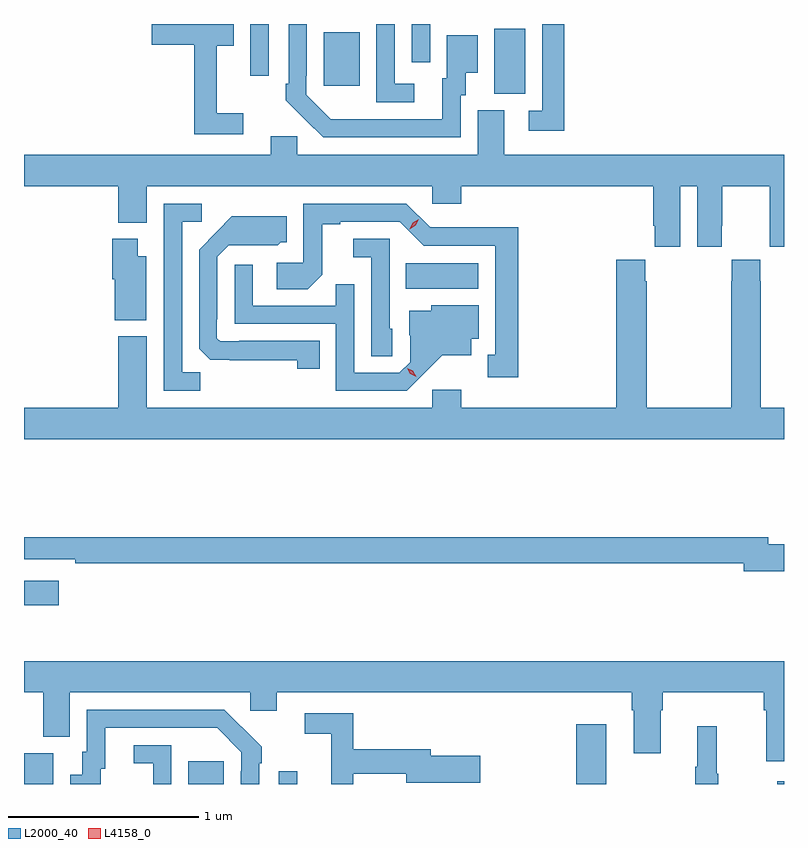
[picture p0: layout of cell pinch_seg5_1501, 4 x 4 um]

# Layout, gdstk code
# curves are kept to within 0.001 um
import gdstk
lib = gdstk.Library(unit=1e-6, precision=1e-09)
def R(c, l, rs):  # rectangles x0, y0, x1, y1
    for r in rs: c.add(gdstk.rectangle(r[:2], r[2:], *l))
def P(c, l, *ps):  # polygons
    for p in ps: c.add(gdstk.Polygon(p, *l))
L2000_40 = (2000, 40)
L4158_0 = (4158, 0)

pinch_seg5_1501 = lib.new_cell('pinch_seg5_1501')
R(pinch_seg5_1501, L2000_40, [(314.291,869.597,314.446,869.76), (315.155,869.597,315.343,869.716), (315.633,869.597,315.729,869.665), (317.198,869.597,317.356,869.911), (318.255,869.597,318.291,869.611), (314.291,870.538,314.473,870.667), (316.3,872.204,316.681,872.338), (316.766,873.229,316.93,873.572), (315.869,873.273,316.057,873.553), (315.483,873.324,315.579,873.597), (316.332,873.396,316.428,873.597)])
P(pinch_seg5_1501, L2000_40, [(315.445,873.127),(315.305,873.127),(315.305,873.482),(315.394,873.482),(315.394,873.597),(314.964,873.597),(314.964,873.488),(315.187,873.488),(315.187,873.018),(315.445,873.018)],
  [(316.345,873.282),(316.242,873.282),(316.242,873.597),(316.146,873.597),(316.146,873.186),(316.345,873.186)],
  [(317.135,873.597),(317.019,873.597),(317.019,873.141),(316.947,873.141),(316.947,873.036),(317.135,873.036)],
  [(316.59,873.222),(316.615,873.222),(316.615,873.341),(316.678,873.341),(316.678,873.538),(316.517,873.538),(316.517,873.312),(316.493,873.312),(316.493,873.096),(315.906,873.097),(315.777,873.225),(315.777,873.325),(315.78,873.325),(315.78,873.597),(315.684,873.597),(315.684,873.283),(315.669,873.283),(315.669,873.195),(315.866,873),(316.59,873)],
  [(314.291,872.744),(314.786,872.744),(314.786,872.552),(314.938,872.552),(314.938,872.744),(316.44,872.744),(316.44,872.651),(316.592,872.651),(316.592,872.744),(317.603,872.744),(317.603,872.536),(317.612,872.536),(317.612,872.424),(317.746,872.424),(317.746,872.744),(317.834,872.744),(317.834,872.424),(317.964,872.424),(317.964,872.536),(317.965,872.536),(317.965,872.744),(318.215,872.744),(318.215,872.536),(318.216,872.536),(318.216,872.424),(318.291,872.424),(318.291,872.908),(316.819,872.908),(316.819,873.144),(316.679,873.144),(316.679,872.908),(315.729,872.908),(315.729,873.006),(315.59,873.006),(315.59,872.908),(314.291,872.908)],
  [(316.891,872.528),(316.65,872.528),(316.65,872.526),(316.428,872.526),(316.302,872.652),(315.762,872.652),(315.762,872.34),(315.621,872.34),(315.621,872.2),(315.785,872.2),(315.861,872.276),(315.861,872.544),(315.955,872.544),(315.955,872.556),(316.269,872.556),(316.395,872.43),(316.772,872.43),(316.772,871.857),(316.733,871.857),(316.733,871.737),(316.891,871.737)],
  [(315.219,871.763),(315.123,871.763),(315.123,872.556),(315.226,872.556),(315.226,872.652),(315.027,872.652),(315.027,871.668),(315.219,871.668)],
  [(315.848,871.929),(315.424,871.929),(315.424,871.926),(315.324,871.926),(315.306,871.944),(315.306,872.044),(315.309,872.044),(315.309,872.373),(315.369,872.433),(315.626,872.432),(315.642,872.448),(315.673,872.448),(315.673,872.584),(315.385,872.584),(315.213,872.41),(315.213,871.888),(315.272,871.829),(315.73,871.828),(315.73,871.782),(315.848,871.782)],
  [(314.935,872.374),(314.89,872.374),(314.89,872.467),(314.756,872.467),(314.756,872.253),(314.768,872.253),(314.768,872.039),(314.935,872.039)],
  [(316.23,871.992),(316.215,871.992),(316.215,872.466),(316.023,872.466),(316.023,872.369),(316.119,872.369),(316.119,871.849),(316.23,871.849)],
  [(318.291,871.576),(318.168,871.576),(318.168,872.243),(318.165,872.243),(318.165,872.356),(318.015,872.356),(318.015,872.243),(318.013,872.243),(318.013,871.576),(317.568,871.576),(317.568,872.243),(317.561,872.243),(317.561,872.356),(317.408,872.356),(317.408,871.576),(316.592,871.576),(316.592,871.672),(316.44,871.672),(316.44,871.576),(314.938,871.576),(314.938,871.954),(314.786,871.954),(314.786,871.576),(314.291,871.576),(314.291,871.412),(318.291,871.412)],
  [(316.39,871.751),(316.493,871.853),(316.645,871.853),(316.645,871.94),(316.684,871.94),(316.684,872.116),(316.434,872.116),(316.434,872.089),(316.319,872.089),(316.319,871.96),(316.323,871.96),(316.323,871.818),(316.266,871.761),(316.029,871.761),(316.029,872.228),(315.931,872.228),(315.931,872.115),(315.495,872.115),(315.495,872.329),(315.399,872.329),(315.399,872.019),(315.933,872.019),(315.933,871.668),(316.306,871.668)],
  [(318.291,870.86),(318.208,870.86),(318.208,870.896),(314.291,870.896),(314.291,870.78),(314.56,870.78),(314.56,870.76),(318.08,870.76),(318.08,870.718),(318.291,870.718)],
  [(318.291,870.244),(314.291,870.244),(314.291,870.08),(314.393,870.08),(314.393,869.845),(314.533,869.845),(314.533,870.08),(315.483,870.08),(315.483,869.982),(315.622,869.982),(315.622,870.08),(317.489,870.08),(317.489,869.984),(317.501,869.984),(317.501,869.76),(317.641,869.76),(317.641,869.984),(317.654,869.984),(317.654,870.08),(318.185,870.08),(318.185,869.984),(318.197,869.984),(318.197,869.718),(318.291,869.718)],
  [(314.695,869.676),(314.719,869.676),(314.719,869.892),(315.307,869.892),(315.435,869.763),(315.435,869.663),(315.432,869.663),(315.432,869.597),(315.528,869.597),(315.528,869.705),(315.543,869.705),(315.543,869.793),(315.346,869.988),(314.622,869.988),(314.622,869.766),(314.597,869.766),(314.597,869.647),(314.534,869.647),(314.534,869.597),(314.695,869.597)],
  [(316.025,869.65),(316.304,869.65),(316.304,869.603),(316.693,869.603),(316.693,869.745),(316.432,869.745),(316.432,869.779),(316.025,869.779),(316.025,869.97),(315.768,869.97),(315.768,869.862),(315.908,869.862),(315.908,869.597),(316.025,869.597)],
  [(317.944,869.652),(317.936,869.652),(317.936,869.902),(317.834,869.902),(317.834,869.689),(317.823,869.689),(317.823,869.597),(317.944,869.597)],
  [(315.066,869.802),(314.868,869.802),(314.868,869.706),(314.97,869.706),(314.97,869.597),(315.066,869.597)])
P(pinch_seg5_1501, L4158_0, [(316.355,871.741),(316.325,871.756),(316.307,871.785),(316.307,871.786),(316.308,871.786),(316.338,871.771),(316.355,871.741),(316.355,871.741)],
  [(316.32,872.518),(316.32,872.518),(316.337,872.551),(316.369,872.57),(316.369,872.57),(316.369,872.57),(316.352,872.537),(316.32,872.518)])

lib.write_gds('pinch_seg5_1501.gds')
